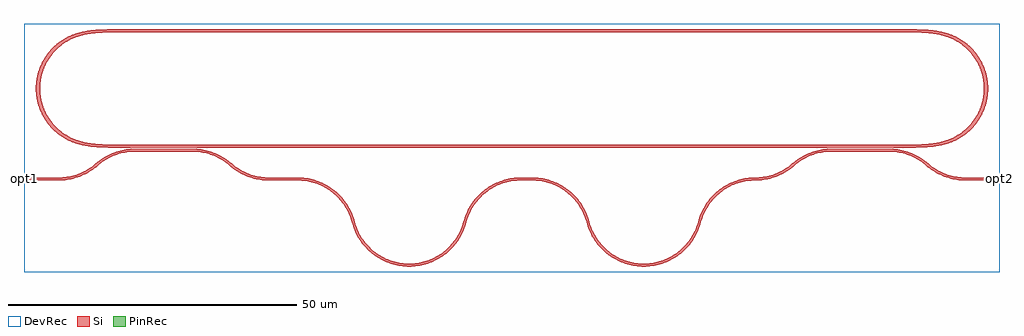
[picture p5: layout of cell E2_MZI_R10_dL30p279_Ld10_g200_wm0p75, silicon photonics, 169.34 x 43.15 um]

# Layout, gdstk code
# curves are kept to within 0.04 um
import gdstk
lib = gdstk.Library(unit=1e-6, precision=1e-09)
def R(c, l, rs):  # rectangles x0, y0, x1, y1
    for r in rs: c.add(gdstk.rectangle(r[:2], r[2:], *l))
def P(c, l, *ps):  # polygons
    for p in ps: c.add(gdstk.Polygon(p, *l))
Si = (1, 0)
PinRec = (1, 10)
DevRec = (68, 0)

c__e2ring_r10p000_lc134p86 = lib.new_cell('_E2ring_R10p000_Lc134p863_w0p500_wm0p750_tp30')
R(c__e2ring_r10p000_lc134p86, Si, [(-67.431,-10.25,67.431,-9.75), (-67.431,9.75,67.431,10.25)])
P(c__e2ring_r10p000_lc134p86, Si, [(-68.592,-10.25),(-71.577,-10.193),(-73.721,-9.976),(-75.497,-9.565),(-77.037,-8.954),(-78.57,-8.02),(-79.322,-7.404),(-80.01,-6.719),(-81.087,-5.301),(-81.894,-3.715),(-82.211,-2.797),(-82.438,-1.852),(-82.572,-0.89),(-82.611,0.081),(-82.538,1.212),(-82.373,2.17),(-82.116,3.107),(-81.768,4.014),(-81.335,4.884),(-80.818,5.707),(-80.225,6.476),(-79.559,7.184),(-78.827,7.823),(-78.037,8.388),(-77.185,8.88),(-76.279,9.29),(-75.179,9.659),(-74.211,9.888),(-72.899,10.088),(-71.577,10.193),(-67.431,10.25),(-67.431,9.75),(-71.68,9.678),(-73.246,9.515),(-74.481,9.271),(-75.83,8.841),(-76.968,8.304),(-78.009,7.636),(-78.951,6.84),(-79.878,5.807),(-80.644,4.651),(-81.234,3.395),(-81.634,2.066),(-81.836,0.694),(-81.836,-0.694),(-81.634,-2.066),(-81.234,-3.395),(-80.489,-4.917),(-79.485,-6.283),(-78.254,-7.448),(-76.83,-8.379),(-75.976,-8.781),(-75.087,-9.101),(-74.02,-9.376),(-73.09,-9.537),(-70.894,-9.717),(-67.431,-9.75),(-67.431,-10.25)],
  [(67.431,-10.25),(67.431,-9.75),(71.68,-9.678),(73.09,-9.537),(74.328,-9.307),(75.387,-9.003),(76.265,-8.656),(77.105,-8.226),(77.884,-7.726),(78.725,-7.05),(79.485,-6.283),(80.152,-5.434),(80.791,-4.379),(81.234,-3.395),(81.562,-2.366),(81.791,-1.154),(81.861,-0.077),(81.809,1.001),(81.634,2.066),(81.288,3.25),(80.861,4.242),(80.324,5.179),(79.586,6.167),(78.839,6.946),(77.884,7.726),(77.105,8.227),(76.265,8.657),(75.387,9.004),(74.328,9.308),(72.934,9.559),(71.68,9.678),(67.431,9.75),(67.431,10.25),(71.246,10.209),(73.393,10.026),(74.535,9.82),(75.497,9.565),(77.185,8.88),(78.037,8.388),(78.827,7.823),(79.559,7.184),(80.225,6.476),(80.818,5.707),(81.335,4.884),(81.768,4.014),(82.116,3.107),(82.373,2.17),(82.538,1.212),(82.611,0.081),(82.572,-0.89),(82.438,-1.852),(82.211,-2.797),(81.894,-3.715),(81.489,-4.598),(80.531,-6.098),(79.322,-7.404),(77.9,-8.475),(77.037,-8.954),(76.279,-9.289),(74.697,-9.783),(72.735,-10.105),(70.748,-10.226)])

e2_mzi_r10_dl30p279_ld10 = lib.new_cell('E2_MZI_R10_dL30p279_Ld10_g200_wm0p75')
R(e2_mzi_r10_dl30p279_ld10, Si, [(-1,-0.25,0,0.25), (0,-0.25,5,0.25), (41.458,-0.25,46.458,0.25), (85.16,-0.25,87.16,0.25), (162.32,-0.25,167.32,0.25), (167.32,-0.25,168.32,0.25), (18.229,4.75,28.229,5.25), (139.091,4.75,149.091,5.25)])
P(e2_mzi_r10_dl30p279_ld10, Si, [(162.32,-0.25),(161.211,-0.19),(160.478,-0.083),(159.398,0.175),(158.696,0.412),(157.68,0.86),(157.032,1.219),(156.113,1.843),(155.54,2.313),(155.871,2.688),(157.29,1.648),(158.873,0.88),(160.568,0.409),(162.32,0.25)],
  [(155.54,2.313),(154.121,3.352),(152.539,4.12),(150.844,4.591),(149.091,4.75),(149.091,5.25),(150.2,5.19),(151.296,5.01),(152.367,4.713),(153.398,4.301),(154.693,3.584),(155.871,2.688)],
  [(132.642,2.313),(132.312,2.688),(133.49,3.584),(134.785,4.301),(135.816,4.713),(136.886,5.01),(137.982,5.19),(139.091,5.25),(139.091,4.75),(137.339,4.591),(135.644,4.12),(134.061,3.352)],
  [(5,-0.25),(5,0.25),(6.752,0.409),(8.447,0.88),(10.03,1.648),(11.449,2.688),(11.78,2.313),(11.207,1.843),(10.288,1.219),(9.64,0.86),(8.624,0.412),(7.922,0.175),(6.842,-0.083),(6.109,-0.19)],
  [(11.78,2.313),(11.449,2.688),(12.627,3.584),(13.922,4.301),(14.954,4.713),(16.024,5.01),(17.12,5.19),(18.229,5.25),(18.229,4.75),(16.477,4.591),(14.782,4.12),(13.199,3.352)],
  [(55.891,-7.537),(55.447,-6.225),(54.638,-4.695),(53.571,-3.332),(52.554,-2.391),(51.112,-1.433),(49.524,-0.745),(47.839,-0.348),(46.458,-0.25),(46.458,0.25),(47.91,0.147),(49.681,-0.27),(51.351,-0.994),(52.867,-2.001),(53.682,-2.729),(54.415,-3.539),(55.432,-5.048),(55.908,-6.031),(56.375,-7.411)],
  [(41.458,-0.25),(40.348,-0.19),(39.616,-0.083),(38.535,0.175),(37.834,0.412),(36.817,0.86),(36.17,1.219),(35.549,1.624),(34.678,2.313),(35.008,2.688),(36.428,1.648),(38.01,0.88),(39.705,0.409),(41.458,0.25)],
  [(65.809,-15.198),(63.996,-15.036),(62.241,-14.557),(60.915,-13.954),(59.4,-12.947),(58.331,-11.958),(57.209,-10.525),(56.505,-9.25),(55.891,-7.537),(56.375,-7.411),(56.819,-8.723),(57.629,-10.253),(58.463,-11.359),(59.712,-12.556),(61.154,-13.515),(62.742,-14.203),(64.085,-14.544),(65.809,-14.698)],
  [(65.809,-15.198),(65.809,-14.698),(67.533,-14.544),(68.875,-14.203),(70.464,-13.515),(71.631,-12.768),(72.922,-11.616),(73.989,-10.253),(74.798,-8.723),(75.243,-7.411),(75.726,-7.537),(75.112,-9.25),(74.409,-10.525),(73.287,-11.958),(72.218,-12.947),(70.702,-13.954),(69.377,-14.557),(67.621,-15.036)],
  [(75.726,-7.537),(75.243,-7.411),(75.71,-6.031),(76.186,-5.048),(77.203,-3.539),(77.936,-2.729),(78.751,-2.001),(80.266,-0.994),(81.936,-0.27),(83.707,0.147),(85.16,0.25),(85.16,-0.25),(83.778,-0.348),(82.093,-0.745),(80.505,-1.433),(79.064,-2.391),(77.814,-3.589),(76.98,-4.695),(76.171,-6.225)],
  [(96.594,-7.537),(96.15,-6.225),(95.34,-4.695),(94.506,-3.589),(93.256,-2.391),(91.815,-1.433),(90.227,-0.745),(88.542,-0.348),(87.16,-0.25),(87.16,0.25),(88.613,0.147),(90.384,-0.27),(92.054,-0.994),(93.569,-2.001),(94.883,-3.26),(95.556,-4.12),(96.134,-5.048),(96.611,-6.031),(97.078,-7.411)],
  [(106.511,-15.198),(104.699,-15.036),(102.944,-14.557),(101.618,-13.954),(100.102,-12.947),(99.033,-11.958),(97.912,-10.525),(97.208,-9.25),(96.594,-7.537),(97.078,-7.411),(97.522,-8.723),(98.331,-10.253),(99.398,-11.616),(100.689,-12.768),(101.856,-13.515),(103.445,-14.203),(104.787,-14.544),(106.511,-14.698)],
  [(116.429,-7.537),(115.945,-7.411),(116.412,-6.031),(116.888,-5.048),(117.467,-4.12),(118.14,-3.26),(119.454,-2.001),(120.969,-0.994),(122.639,-0.27),(124.41,0.147),(125.863,0.25),(125.863,-0.25),(124.481,-0.348),(122.796,-0.745),(121.208,-1.433),(119.766,-2.391),(118.749,-3.332),(117.682,-4.695),(116.873,-6.225)],
  [(34.678,2.313),(33.259,3.352),(31.676,4.12),(29.981,4.591),(28.229,4.75),(28.229,5.25),(29.338,5.19),(30.434,5.01),(31.504,4.713),(32.536,4.301),(33.83,3.584),(35.008,2.688)],
  [(106.511,-15.198),(106.511,-14.698),(108.235,-14.544),(109.578,-14.203),(111.166,-13.515),(112.608,-12.556),(113.625,-11.616),(114.692,-10.253),(115.501,-8.723),(115.945,-7.411),(116.429,-7.537),(115.815,-9.25),(115.111,-10.525),(113.989,-11.958),(112.92,-12.947),(111.405,-13.954),(110.079,-14.557),(108.324,-15.036)],
  [(125.863,-0.25),(125.863,0.25),(127.615,0.409),(129.31,0.88),(130.893,1.648),(132.312,2.688),(132.642,2.313),(132.07,1.843),(131.151,1.219),(130.503,0.86),(129.487,0.412),(128.785,0.175),(127.705,-0.083),(126.972,-0.19)])
R(e2_mzi_r10_dl30p279_ld10, DevRec, [(-1,-16.198,168.32,26.95)])
e2_mzi_r10_dl30p279_ld10.add(gdstk.FlexPath([(168.31,0),(168.33,0)], 0.5, ends="flush", simple_path=True, layer=1, datatype=10))  # PinRec
e2_mzi_r10_dl30p279_ld10.add(gdstk.FlexPath([(-0.99,0),(-1.01,0)], 0.5, ends="flush", simple_path=True, layer=1, datatype=10))  # PinRec
e2_mzi_r10_dl30p279_ld10.add(gdstk.Reference(c__e2ring_r10p000_lc134p86, (83.66,15.7)))
e2_mzi_r10_dl30p279_ld10.add(gdstk.Label('opt2', (168.32,0), layer=1, texttype=10))
e2_mzi_r10_dl30p279_ld10.add(gdstk.Label('opt1', (-1,0), layer=1, texttype=10))

lib.write_gds('E2_MZI_R10_dL30p279_Ld10_g200_wm0p75.gds')
